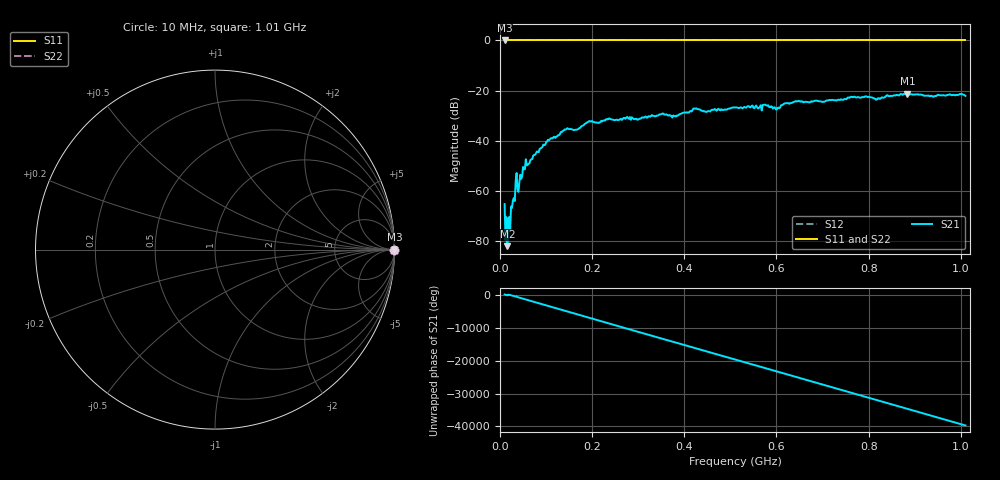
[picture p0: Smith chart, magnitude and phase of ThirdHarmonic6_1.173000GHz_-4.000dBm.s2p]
! 8/16/2025 11:53:37 AM
! C:\ANRITSUVNA\TEMP\TEMP.S2P
! CHANNEL.1
! TR.MEASUREMENT
! RAW.DATA
! RF.CORRECTION.OFF
! AVERAGING.OFF
! IF.BANDWIDTH: 5KHZ
! SWEEPTYPE:  FREQ.SWEEP(Linear)
! Reference Plane Port Info
! PORT:  PORT1  PORT2
! DISTANCE:  0  m  0  m
! TIME:  0  s  0  s
! PHASE.OFFSET:  0  deg.  0  deg.
! LOSS:  0  dB  0  dB
! REF.LOSS:  0  dB  0  dB
! REF.FREQ:  0  Hz  0  Hz
! Power Info
! POWER:  -20  dBm  -20  dBm
! EFF.POWER:  -20  dBm  -20  dBm
! SOURCE.ATTEN:  0  dB  0  dB
! TEST.ATTEN:  0  dB  0  dB
# GHZ S RI R 50.0
! FREQ.GHZ  S11RE  S11IM  S21RE  S21IM  S12RE  S12IM  S22RE  S22IM
!; PortSelection: Port_12
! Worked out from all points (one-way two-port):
!   501 points, 10 MHz to 1.01 GHz, reference 50 ohm
!   highest |S21| = -21.18 dB at 884 MHz (marker M1); lowest = -82.1 dB at 16 MHz (marker M2)
!   lowest |S11| = 0.0 dB at 10 MHz (marker M3)
!   |S11| at or under -10 dB: nowhere
!   |S22| runs from 0.0 to 0.0 dB; largest |S21 - S12| = 1.1
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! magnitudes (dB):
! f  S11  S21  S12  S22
! 10 MHz  0.0  -65.3  0.0  0.0
! 12 MHz  0.0  -79.6  0.0  0.0
! 16 MHz  0.0  -82.1  0.0  0.0
! 20 MHz  0.0  -70.4  0.0  0.0
! 32 MHz  0.0  -64.1  0.0  0.0
! 42 MHz  0.0  -56.7  0.0  0.0
! 54 MHz  0.0  -51.4  0.0  0.0
! 108 MHz  0.0  -39.5  0.0  0.0
! 144 MHz  0.0  -35.4  0.0  0.0
! 178 MHz  0.0  -34.1  0.0  0.0
! 196 MHz  0.0  -32.3  0.0  0.0
! 344 MHz  0.0  -29.8  0.0  0.0
! 378 MHz  0.0  -30.1  0.0  0.0
! 424 MHz  0.0  -27.2  0.0  0.0
! 510 MHz  0.0  -26.7  0.0  0.0
! 574 MHz  0.0  -25.6  0.0  0.0
! 602 MHz  0.0  -27.0  0.0  0.0
! 620 MHz  0.0  -25.1  0.0  0.0
! 678 MHz  0.0  -24.4  0.0  0.0
! 844 MHz  0.0  -22.2  0.0  0.0
! 884 MHz  0.0  -21.2  0.0  0.0
! 1.01 GHz  0.0  -22.1  0.0  0.0
